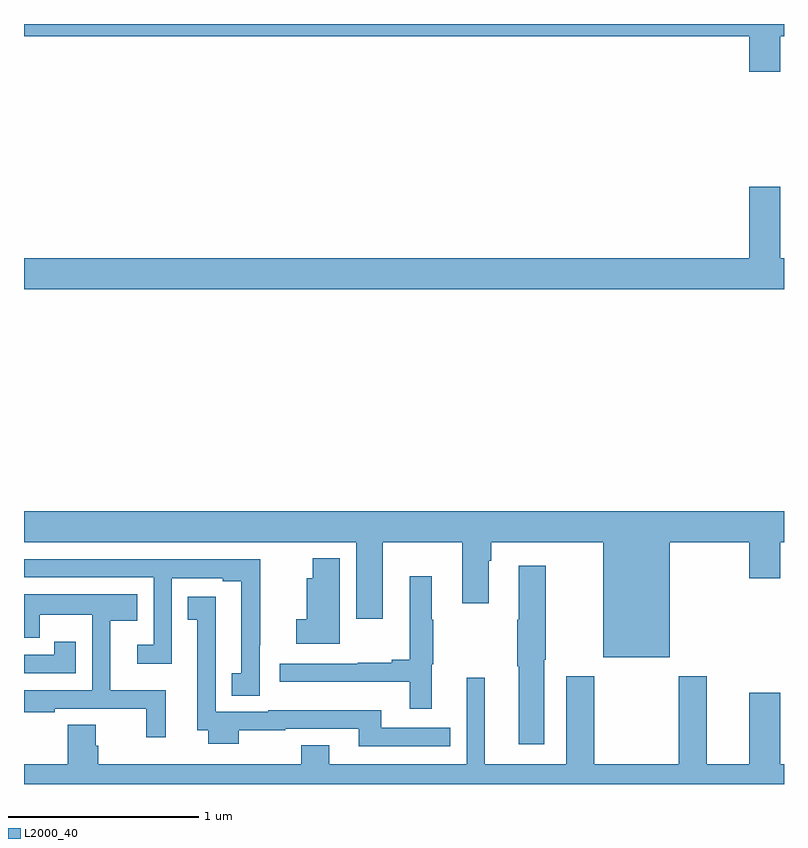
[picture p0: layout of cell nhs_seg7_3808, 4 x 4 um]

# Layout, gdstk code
import gdstk
lib = gdstk.Library(unit=1e-6, precision=1e-09)
def P(c, l, *ps):  # polygons
    for p in ps: c.add(gdstk.Polygon(p, *l))
L2000_40 = (2000, 40)

nhs_seg7_3808 = lib.new_cell('nhs_seg7_3808')
P(nhs_seg7_3808, L2000_40, [(356.98,1013.936),(357,1013.936),(357,1014),(353,1014),(353,1013.936),(356.816,1013.936),(356.816,1013.748),(356.98,1013.748)],
  [(357,1012.768),(356.98,1012.768),(356.98,1013.143),(356.816,1013.143),(356.816,1012.768),(353,1012.768),(353,1012.604),(357,1012.604)],
  [(356.398,1011.272),(356.816,1011.272),(356.816,1011.084),(356.98,1011.084),(356.98,1011.272),(357,1011.272),(357,1011.436),(353,1011.436),(353,1011.272),(354.749,1011.272),(354.749,1010.871),(354.889,1010.871),(354.889,1011.272),(355.307,1011.272),(355.307,1010.952),(355.447,1010.952),(355.447,1011.176),(355.46,1011.176),(355.46,1011.272),(356.048,1011.272),(356.048,1010.666),(356.398,1010.666)],
  [(354.661,1011.187),(354.521,1011.187),(354.521,1011.082),(354.488,1011.082),(354.488,1010.868),(354.432,1010.868),(354.432,1010.738),(354.661,1010.738)],
  [(354.24,1010.731),(354.243,1010.731),(354.243,1011.184),(353.785,1011.184),(353.785,1011.183),(353,1011.183),(353,1011.087),(353.682,1011.087),(353.682,1010.734),(353.595,1010.734),(353.595,1010.633),(353.778,1010.633),(353.778,1011.083),(354.047,1011.083),(354.047,1011.066),(354.143,1011.066),(354.143,1010.583),(354.094,1010.583),(354.094,1010.464),(354.24,1010.464)],
  [(355.738,1010.653),(355.746,1010.653),(355.746,1011.148),(355.604,1011.148),(355.604,1010.864),(355.597,1010.864),(355.597,1010.62),(355.604,1010.62),(355.604,1010.208),(355.738,1010.208)],
  [(355.147,1010.631),(355.155,1010.631),(355.155,1010.864),(355.147,1010.864),(355.147,1011.094),(355.031,1011.094),(355.031,1010.654),(354.935,1010.654),(354.935,1010.637),(354.757,1010.637),(354.757,1010.634),(354.345,1010.634),(354.345,1010.537),(355.031,1010.537),(355.031,1010.397),(355.147,1010.397)],
  [(353.746,1010.494),(353.455,1010.494),(353.455,1010.858),(353.597,1010.858),(353.597,1010.998),(353,1010.998),(353,1010.77),(353.082,1010.77),(353.082,1010.891),(353.358,1010.891),(353.358,1010.493),(353,1010.493),(353,1010.378),(353.161,1010.378),(353.161,1010.397),(353.644,1010.397),(353.644,1010.247),(353.746,1010.247)],
  [(355.244,1010.295),(354.88,1010.295),(354.88,1010.389),(354.285,1010.389),(354.285,1010.379),(354.009,1010.379),(354.009,1010.662),(354.01,1010.662),(354.01,1010.986),(353.863,1010.986),(353.863,1010.865),(353.912,1010.865),(353.912,1010.283),(353.969,1010.283),(353.969,1010.213),(354.129,1010.213),(354.129,1010.282),(354.375,1010.282),(354.375,1010.292),(354.761,1010.292),(354.761,1010.199),(355.244,1010.199)],
  [(353.273,1010.749),(353.16,1010.749),(353.16,1010.679),(353,1010.679),(353,1010.583),(353.273,1010.583)],
  [(357,1010.104),(356.98,1010.104),(356.98,1010.479),(356.816,1010.479),(356.816,1010.104),(356.593,1010.104),(356.593,1010.566),(356.446,1010.566),(356.446,1010.104),(356.001,1010.104),(356.001,1010.566),(355.853,1010.566),(355.853,1010.104),(355.426,1010.104),(355.426,1010.56),(355.329,1010.56),(355.329,1010.104),(354.607,1010.104),(354.607,1010.203),(354.46,1010.203),(354.46,1010.104),(353.39,1010.104),(353.39,1010.202),(353.377,1010.202),(353.377,1010.312),(353.23,1010.312),(353.23,1010.104),(353,1010.104),(353,1010),(357,1010)])

lib.write_gds('nhs_seg7_3808.gds')
